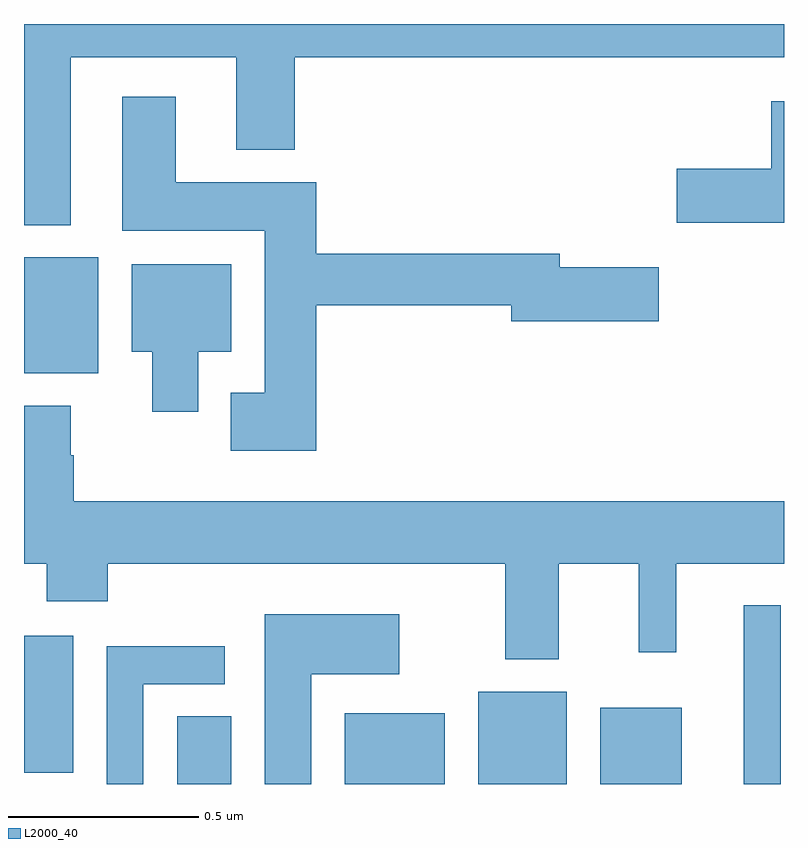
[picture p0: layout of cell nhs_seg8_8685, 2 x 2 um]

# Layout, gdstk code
import gdstk
lib = gdstk.Library(unit=1e-6, precision=1e-09)
def R(c, l, rs):  # rectangles x0, y0, x1, y1
    for r in rs: c.add(gdstk.rectangle(r[:2], r[2:], *l))
def P(c, l, *ps):  # polygons
    for p in ps: c.add(gdstk.Polygon(p, *l))
L2000_40 = (2000, 40)

nhs_seg8_8685 = lib.new_cell('nhs_seg8_8685')
R(nhs_seg8_8685, L2000_40, [(226.403,1135.9,226.546,1136.078), (226.844,1135.9,227.107,1136.086), (227.195,1135.9,227.428,1136.143), (227.516,1135.9,227.731,1136.101), (227.894,1135.9,227.991,1136.371), (226,1135.929,226.129,1136.29), (226,1136.981,226.195,1137.286)])
P(nhs_seg8_8685, L2000_40, [(226,1137.371),(226.123,1137.371),(226.123,1137.812),(226.559,1137.812),(226.559,1137.569),(226.712,1137.569),(226.712,1137.812),(228,1137.812),(228,1137.9),(226,1137.9)],
  [(226.769,1137.16),(227.282,1137.16),(227.282,1137.118),(227.671,1137.118),(227.671,1137.26),(227.41,1137.26),(227.41,1137.296),(226.769,1137.296),(226.769,1137.484),(226.399,1137.484),(226.399,1137.709),(226.259,1137.709),(226.259,1137.356),(226.634,1137.356),(226.634,1136.929),(226.544,1136.929),(226.544,1136.777),(226.769,1136.777)],
  [(228,1137.697),(227.966,1137.697),(227.966,1137.519),(227.718,1137.519),(227.718,1137.377),(228,1137.377)],
  [(226.459,1137.038),(226.546,1137.038),(226.546,1137.268),(226.283,1137.268),(226.283,1137.038),(226.337,1137.038),(226.337,1136.88),(226.459,1136.88)],
  [(227.407,1136.48),(227.618,1136.48),(227.618,1136.247),(227.717,1136.247),(227.717,1136.48),(228,1136.48),(228,1136.644),(226.131,1136.644),(226.131,1136.765),(226.123,1136.765),(226.123,1136.896),(226,1136.896),(226,1136.48),(226.06,1136.48),(226.06,1136.381),(226.22,1136.381),(226.22,1136.48),(227.267,1136.48),(227.267,1136.228),(227.407,1136.228)],
  [(226.756,1136.189),(226.987,1136.189),(226.987,1136.347),(226.634,1136.347),(226.634,1135.9),(226.756,1135.9)],
  [(226.314,1136.163),(226.528,1136.163),(226.528,1136.262),(226.218,1136.262),(226.218,1135.9),(226.314,1135.9)])

lib.write_gds('nhs_seg8_8685.gds')
